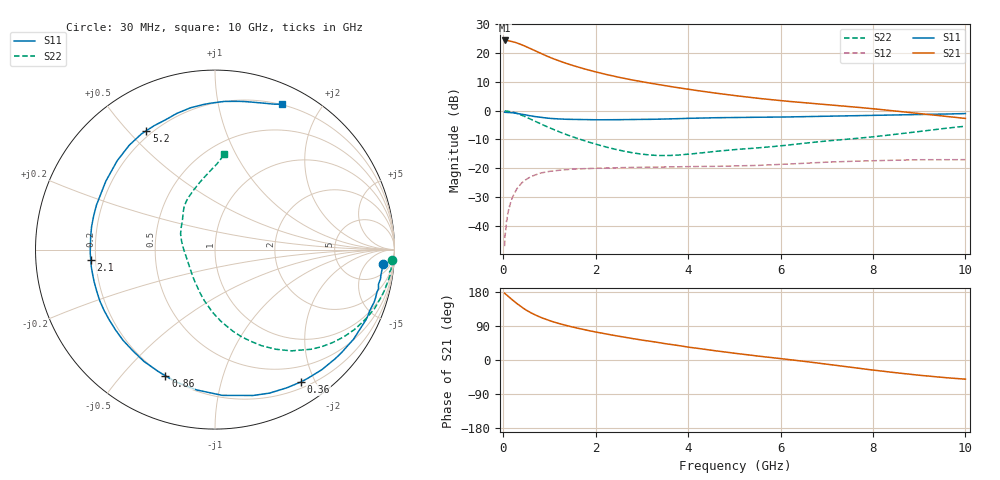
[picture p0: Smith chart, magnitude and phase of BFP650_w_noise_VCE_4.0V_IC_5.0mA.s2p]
! Infineon Technologies  Discrete & RF Semiconductors
! BFP650
! VCE =  4.0 V,  IC =  5.0 mA
! Common Emitter S-Parameters:  Jan 2016
# GHz  S  MA  R  50
!  f  S11  S21  S12  S22
! GHz  MAG  ANG  MAG  ANG  MAG  ANG  MAG  ANG
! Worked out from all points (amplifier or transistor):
!   229 points, 30 MHz to 10 GHz, reference 50 ohm
!   highest |S21| = 24.4 dB at 40 MHz (marker M1)
!   |S21| within 3 dB of that: start of sweep to 608.2 MHz
!   unconditionally stable (mu >= 1): 4.105 GHz to end of sweep
!   at 280 MHz: K = 0.08, MSG = 25.6 dB, |S12| = -27.6 dB
!   at 1.78 GHz: K = 0.51, MSG = 17.3 dB, |S12| = -20.2 dB
!   at 10 GHz: K = 1.08, MAG = 5.4 dB, |S12| = -17.0 dB
!   lowest NFmin = 0.58 dB at 450 MHz
!   S11 on the Smith chart (normalised r, x): 30 MHz: 11, -15; 360 MHz: 0.28, -1.81; 860 MHz: 0.20, -0.66; 2.1 GHz: 0.18, -0.04; 5.2 GHz: 0.18, +0.56; 10 GHz: 0.20, +1.54
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0.03  0.9382 -4.9  16.52 176.1  0.0044 68.6  0.99 -3.2
0.04  0.9374 -6.7  16.64 174.9  0.0072 84.1  0.99 -4.2
0.11  0.9337 -18.3  16.49 167.8  0.0176 76.5  0.9757 -11.6
0.24  0.9092 -39.1  15.59 154.3  0.0361 67.4  0.9267 -24.2
0.36  0.879 -57.0  14.42 143.0  0.0505 59.7  0.8598 -35.0
0.46  0.8514 -70.4  13.37 134.6  0.0605 53.4  0.7971 -43.0
0.6  0.8132 -87.1  11.87 124.5  0.0714 45.4  0.7082 -52.8
0.7  0.7884 -97.5  10.89 118.4  0.0767 40.7  0.6487 -58.8
0.86  0.7552 -111.5  9.52 110.2  0.0838 34.6  0.5644 -67.0
1  0.7382 -122.4  8.525 103.9  0.088 30.0  0.5046 -73.4
1.2  0.7198 -135.3  7.388 96.4  0.0921 25.0  0.4312 -81.5
1.44  0.7058 -148.3  6.348 88.8  0.0952 20.3  0.3652 -89.9
1.7  0.6989 -160.2  5.485 81.6  0.0978 16.5  0.3101 -98.3
2.1  0.6945 -175.3  4.518 71.7  0.1001 11.9  0.2486 -110.5
2.62  0.6994 169.0  3.641 60.2  0.1025 7.8  0.1971 -128.3
3.4  0.7131 150.1  2.807 45.3  0.1045 2.9  0.166 -158.6
4  0.7361 137.8  2.359 34.0  0.1065 -0.1  0.1753 178.7
5.1  0.7641 121.2  1.794 16.5  0.1095 -3.1  0.2134 153.6
5.2  0.7648 120.0  1.755 15.1  0.11 -3.4  0.216 151.8
6.8  0.7953 102.1  1.319 -7.9  0.1249 -9.3  0.2862 127.4
8.4  0.8366 80.9  1.003 -32.3  0.137 -19.4  0.3809 103.4
10  0.8904 65.3  0.733 -50.6  0.1406 -28.8  0.5365 84.4
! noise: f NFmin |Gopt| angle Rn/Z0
0.45  0.58  0.3  34  0.16
0.9  0.6  0.29  65  0.15
1.9  0.87  0.34  137  0.07
2.4  1.01  0.35  156  0.07
3.5  1.44  0.3  -144  0.31
